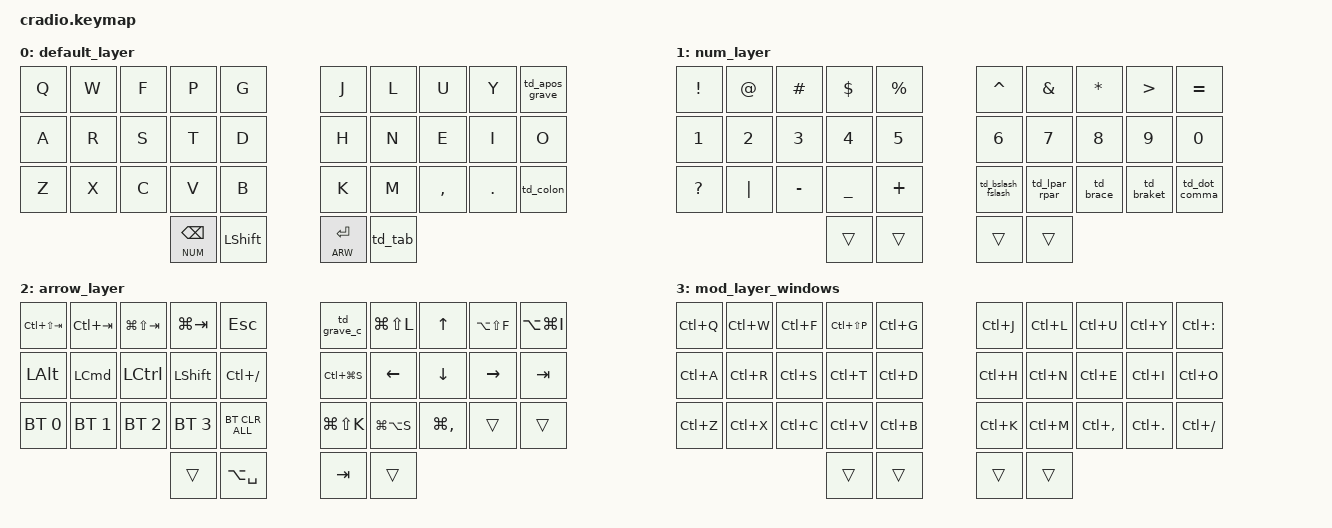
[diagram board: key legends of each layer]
// Copyright (c) 2022 The ZMK Contributors
// SPDX-License-Identifier: MIT

#include <behaviors.dtsi>
#include <dt-bindings/zmk/keys.h>
#include <dt-bindings/zmk/bt.h>

// Home row mods macro
#define HRML(k1,k2,k3,k4) &ht LSHFT k1  &ht LALT k2  &ht LCTRL k3  &ht LGUI k4
#define HRMR(k1,k2,k3,k4) &ht RGUI k1  &ht RCTRL k2  &ht RALT k3  &ht RSHFT k4
#define DFLT 0
#define NUM 1
#define ARW 2
#define MOD 3
//add comment
/ {
    behaviors {
        ht: hold_tap {
            compatible = "zmk,behavior-hold-tap";
            #binding-cells = <2>;
            flavor = "tap-preferred";
            tapping-term-ms = <220>;
            quick-tap-ms = <150>;
            require-prior-idle-ms = <100>;
            bindings = <&kp>, <&kp>;
        };

        
    };
     conditional_layers {
        compatible = "zmk,conditional-layers";
        tri_layer {
            if-layers = <NUM ARW>;
            then-layer = <MOD>;
        };
    };

    td_tab: tap_dance_tab {
        compatible = "zmk,behavior-tap-dance";
        #binding-cells = <0>;
        bindings = <&kp SPACE>, <&kp TAB>;
    };
    td_slash: tap_dance_slash {
        compatible = "zmk,behavior-tap-dance";
        #binding-cells = <0>;
        bindings = <&kp FSLH>, <&kp BSLH>;
    };
    td_quote: tap_dance_quote {
        compatible = "zmk,behavior-tap-dance";
        #binding-cells = <0>;
        bindings = <&kp SQT>, <&kp DQT>;
    };
    td_colon: tap_colon {
        compatible = "zmk,behavior-tap-dance";
        #binding-cells = <0>;
        bindings = <&kp SEMI>, <&kp COLON>;
    };
    td_grave: tap_grave {
        compatible = "zmk,behavior-tap-dance";
        #binding-cells = <0>;
        bindings = <&kp GRAVE>, <&kp TILDE>;
    };
    td_grave_c: tap_grave_c {
        compatible = "zmk,behavior-tap-dance";
        #binding-cells = <0>;
        bindings = <&kp LC(GRAVE)>, <&kp LC(C)>;
    };
    td_dot_comma: tap_dot_comma {
        compatible = "zmk,behavior-tap-dance";
        #binding-cells = <0>;
        bindings = <&kp DOT>, <&kp COMMA>;
    }; 
    td_lt_gt: tap_lt_gt {
        compatible = "zmk,behavior-tap-dance";
        #binding-cells = <0>;
        bindings = <&kp LT>, <&kp GT>;
    };
    td_lpar_rpar: tap_lpar_rpar {
        compatible = "zmk,behavior-tap-dance";
        #binding-cells = <0>;
        bindings = <&kp LPAR>, <&kp RPAR>;
    };
    td_braket: tap_braket {
        compatible = "zmk,behavior-tap-dance";
        #binding-cells = <0>;
        bindings = <&kp LBKT>, <&kp RBKT>;
    };
    td_brace: tap_brace {
        compatible = "zmk,behavior-tap-dance";
        #binding-cells = <0>;
        bindings = <&kp LBRC>, <&kp RBRC>;
    };
    td_bslash_fslash: tap_bslash_fslash {
        compatible = "zmk,behavior-tap-dance";
        #binding-cells = <0>;
        bindings = <&kp BSLH>, <&kp FSLH>;
    };
    td_apos_grave: tap_apos_grave {
        compatible = "zmk,behavior-tap-dance";
        #binding-cells = <0>;
        bindings = <&kp APOS>, <&kp GRAVE>;
    };


 
    keymap {
        compatible = "zmk,keymap";
        default_layer {
            bindings = <
            &kp Q      &kp W      &kp F      &kp P      &kp G          &kp J      &kp L      &kp U      &kp Y      &td_apos_grave
            &kp A        &kp R       &kp S     &kp T     &kp D          &kp H      &kp N     &kp E       &kp I     &kp O
            &kp Z      &kp X      &kp C      &kp V      &kp B          &kp K      &kp M      &kp COMMA  &kp DOT    &td_colon
                                          &lt NUM BSPC   &kp LSHFT   &lt ARW ENTER  &td_tab    
            >;
        };

        num_layer {
            bindings = <
            &kp EXCL   &kp AT  &kp HASH &kp DLLR   &kp PRCNT   &kp CARET        &kp AMPS     &kp ASTRK    &kp GT    &kp EQUAL            
            &kp N1     &kp N2      &kp N3      &kp N4       &kp N5         &kp N6      &kp N7      &kp N8      &kp N9     &kp N0 
            &kp QMARK    &kp PIPE   &kp MINUS     &kp UNDER      &kp PLUS      &td_bslash_fslash       &td_lpar_rpar     &td_brace   &td_braket    &td_dot_comma
                                             &trans     &trans       &trans       &trans     
            >;
        };  

        arrow_layer {
            bindings = <
            &kp LC(LS(TAB))     &kp LC(TAB)      &kp LG(LS(TAB))     &kp LG(TAB)    &kp ESC         &td_grave_c   &kp LG(LS(L))     &kp UP   &kp LA(LS(F))  &kp LA(LG(I))    
            &kp LALT   &kp LCMD   &kp LCTRL   &kp LSHFT   &kp LC(FSLH)      &kp LC(LG(S))       &kp LEFT  &kp DOWN    &kp RIGHT   &kp TAB
            &bt BT_SEL 0     &bt BT_SEL 1   &bt BT_SEL 2     &bt BT_SEL 3     &bt BT_CLR_ALL        &kp LG(LS(K))      &kp LG(LA(S))     &kp LG(COMMA)     &trans  &trans
                                             &trans     &kp LA(SPACE)         &kp TAB     &trans
            >;
        };

         mod_layer_windows {
            bindings = <
           &kp LC(Q)      &kp LC(W)     &kp LC(F)     &kp LC(LS(P))    &kp LC(G)            &kp LC(J)     &kp LC(L)     &kp LC(U)     &kp LC(Y)    &kp LC(COLON)
           &kp LC(A)    &kp LC(R)  &kp LC(S)  &kp LC(T)      &kp LC(D)              &kp LC(H) &kp LC(N)  &kp LC(E) &kp LC(I) &kp LC(O)
            &kp LC(Z)    &kp LC(X)    &kp LC(C)    &kp LC(V)    &kp LC(B)            &kp LC(K)    &kp LC(M)    &kp LC(COMMA)  &kp LC(DOT)  &kp LC(SLASH)
                                             &trans     &trans         &trans     &trans
            >;
        };

        //   mod_layer_mac {
        //     bindings = <
        //    &kp LG(Q)      &kp LG(W)     &kp LG(F)     &kp LG(P)    &kp LG(G)            &kp LG(J)     &kp LG(L)     &kp LG(U)     &kp LG(Y)    &kp LG(COLON)
        //    &kp LG(A)    &kp LG(R)  &kp LG(S)  &kp LG(T)      &kp LG(D)              &kp LG(H) &kp LG(N)  &kp LG(E) &kp LG(I) &kp LG(O)
        //     &kp LG(Z)    &kp LG(X)    &kp LG(C)    &kp LG(V)    &kp LG(B)            &kp LG(K)    &kp LG(M)    &kp LG(COMMA)  &kp LG(DOT)  &kp LG(SLASH)
        //                                      &trans     &trans         &trans     &trans
        //     >;
        // };

    };
};

// td_cmaless: tap_cmaless {
    //     compatible = "zmk,behavior-tap-dance";
    //     #binding-cells = <0>;
    //     bindings = <&kp COMMA>, <&kp LT>;
    // };
    // td_prdgt: tap_prdgt {
    //     compatible = "zmk,behavior-tap-dance";
    //     #binding-cells = <0>;
    //     bindings = <&kp DOT>, <&kp GT>;
    // };

// td_1: tap_dance_1 {
    //     compatible = "zmk,behavior-tap-dance";
    //     #binding-cells = <0>;
    //     bindings = <&kp N1>, <&kp EXCL>;
    // };

    // td_2: tap_dance_2 {
    //     compatible = "zmk,behavior-tap-dance";
    //     #binding-cells = <0>;
    //     bindings = <&kp N2>, <&kp AT>;
    // };
    // td_3: tap_dance_3 {
    //     compatible = "zmk,behavior-tap-dance";
    //     #binding-cells = <0>;
    //     bindings = <&kp N3>, <&kp HASH>;
    // };
    // td_4: tap_dance_4 {
    //     compatible = "zmk,behavior-tap-dance";
    //     #binding-cells = <0>;
    //     bindings = <&kp N4>, <&kp DLLR>;
    // };
    // td_5: tap_dance_5 {
    //     compatible = "zmk,behavior-tap-dance";
    //     #binding-cells = <0>;
    //     bindings = <&kp N5>, <&kp PRCNT>;
    // };
    // td_6: tap_dance_6 {
    //     compatible = "zmk,behavior-tap-dance";
    //     #binding-cells = <0>;
    //     bindings = <&kp N6>, <&kp CARET>;
    // };
    // td_7: tap_dance_7 {
    //     compatible = "zmk,behavior-tap-dance";
    //     #binding-cells = <0>;
    //     bindings = <&kp N7>, <&kp AMPS>;
    // };

    // td_8: tap_dance_8 {
    //     compatible = "zmk,behavior-tap-dance";
    //     #binding-cells = <0>;
    //     bindings = <&kp N8>, <&kp ASTRK>;
    // };
    // td_9: tap_dance_9 {
    //     compatible = "zmk,behavior-tap-dance";
    //     #binding-cells = <0>;
    //     bindings = <&kp N9>, <&kp LPAR>;
    // };
    // td_0: tap_dance_0 {
    //     compatible = "zmk,behavior-tap-dance";
    //     #binding-cells = <0>;
    //     bindings = <&kp N0>, <&kp RPAR>;
    // };

// td_left_bracket: tap_dance_bracket {
    //     compatible = "zmk,behavior-tap-dance";
    //     #binding-cells = <0>;
    //     bindings = <&kp LBKT>, <&kp RBKT>;
    // };
    // td_right_bracket: tap_dance_brace {
    //     compatible = "zmk,behavior-tap-dance";
    //     #binding-cells = <0>;
    //     bindings = <&kp LBRC>, <&kp RBRC>;
    // };
    // td_cv: tap_dance_cv {
    //     compatible = "zmk,behavior-tap-dance";
    //     #binding-cells = <0>;
    //     bindings = <&kp C>, <&kp V>;
    // };
    // td_pl: tap_pl {
    //     compatible = "zmk,behavior-tap-dance";
    //     #binding-cells = <0>;
    //     bindings = <&kp P>, <&kp L>;
    // };
    // td_tn: tap_tn {
    //     compatible = "zmk,behavior-tap-dance";
    //     #binding-cells = <0>;
    //     bindings = <&kp T>, <&kp N>;
    // };
    // td_iw: tap_iw {
    //     compatible = "zmk,behavior-tap-dance";
    //     #binding-cells = <0>;
    //     bindings = <&kp I>, <&kp W>;
    // }; 
    // td_dk: tap_dk {
    //     compatible = "zmk,behavior-tap-dance";
    //     #binding-cells = <0>;
    //     bindings = <&kp D>, <&kp K>;
    // };

    // td_sz: tap_sz {
    //     compatible = "zmk,behavior-tap-dance";
    //     #binding-cells = <0>;
    //     bindings = <&kp S>, <&kp Z>;
    // };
